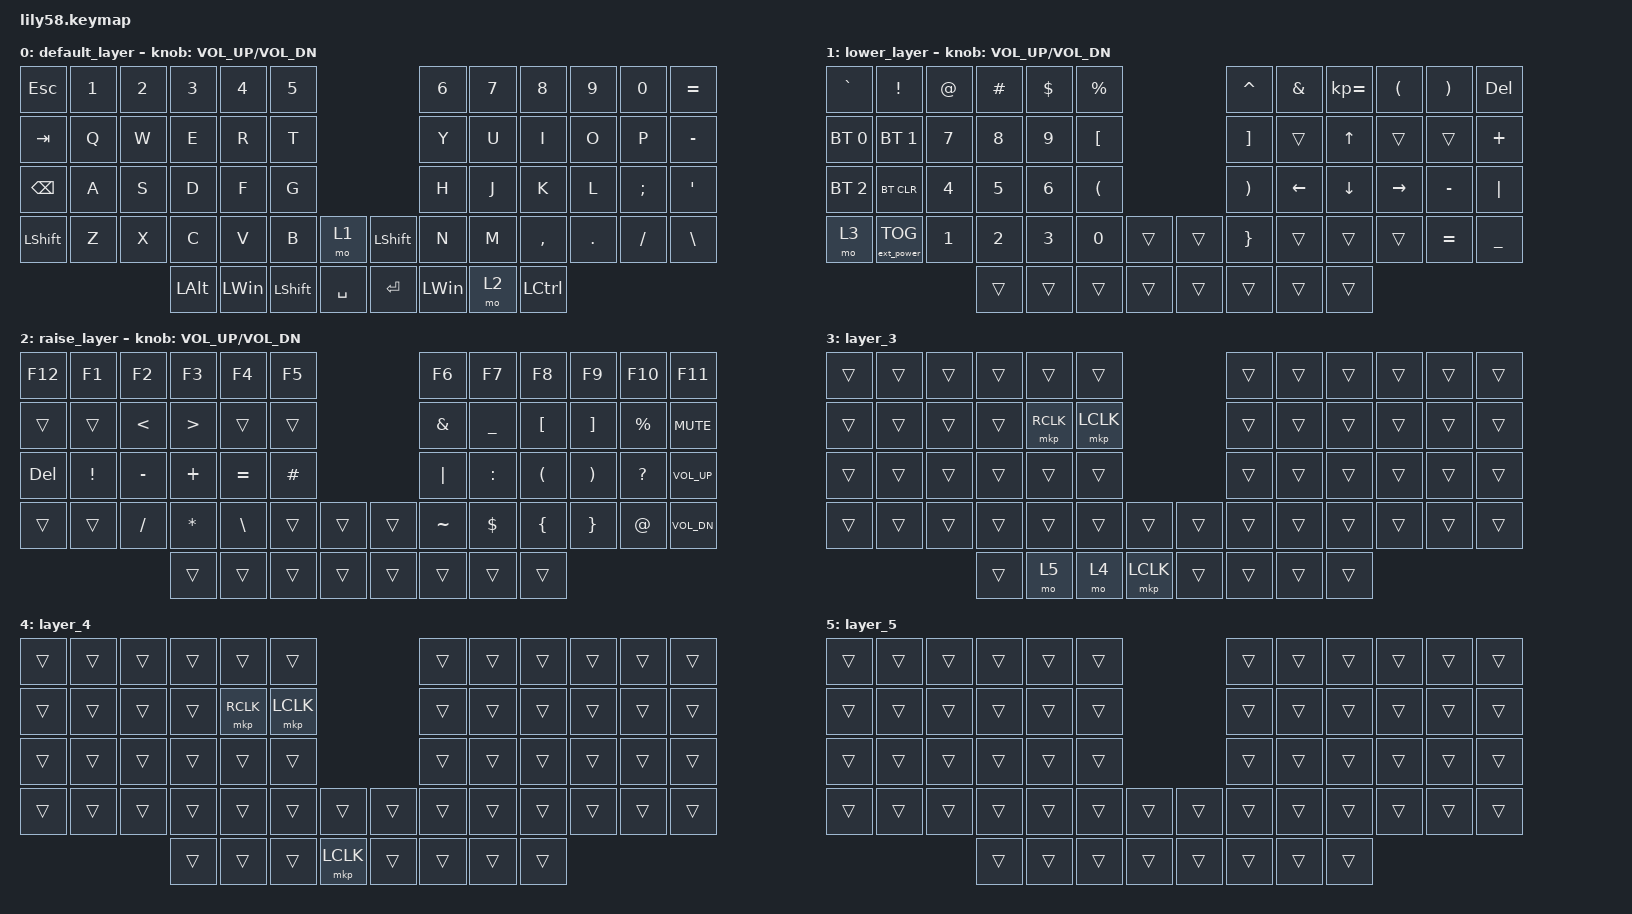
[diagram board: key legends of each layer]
/*
 * Copyright (c) 2020 The ZMK Contributors
 *
 * SPDX-License-Identifier: MIT
 */

#include <behaviors.dtsi>
#include <dt-bindings/zmk/bt.h>
#include <dt-bindings/zmk/ext_power.h>
#include <dt-bindings/zmk/keys.h>
#include <dt-bindings/zmk/pointing.h>

/ {
    keymap {
        compatible = "zmk,keymap";

        default_layer {
            // ------------------------------------------------------------------------------------------------------------
            // |  ESC  |  1  |  2  |  3   |  4   |  5   |                   |  6   |  7    |  8    |  9   |   0   |   `   |
            // |  TAB  |  Q  |  W  |  E   |  R   |  T   |                   |  Y   |  U    |  I    |  O   |   P   |   -   |
            // |  CTRL |  A  |  S  |  D   |  F   |  G   |                   |  H   |  J    |  K    |  L   |   ;   |   '   |
            // | SHIFT |  Z  |  X  |  C   |  V   |  B   |   "["  |  |  "]"  |  N   |  M    |  ,    |  .   |   /   | SHIFT |
            //                     | ALT  | GUI  | LOWER|  SPACE |  | ENTER | RAISE| BSPC  | GUI   |

            bindings = <
&kp ESC        &kp N1  &kp N2  &kp N3    &kp N4    &kp N5                                  &kp N6    &kp N7  &kp N8     &kp N9   &kp N0    &kp EQUAL
&kp TAB        &kp Q   &kp W   &kp E     &kp R     &kp T                                   &kp Y     &kp U   &kp I      &kp O    &kp P     &kp MINUS
&kp BACKSPACE  &kp A   &kp S   &kp D     &kp F     &kp G                                   &kp H     &kp J   &kp K      &kp L    &kp SEMI  &kp SINGLE_QUOTE
&kp LSHFT      &kp Z   &kp X   &kp C     &kp V     &kp B      &mo 1        &kp LEFT_SHIFT  &kp N     &kp M   &kp COMMA  &kp DOT  &kp FSLH  &kp BACKSLASH
                               &kp LALT  &kp LWIN  &kp LSHFT  &kp SPACE    &kp RET         &kp LWIN  &mo 2   &kp LCTRL
            >;

            sensor-bindings = <&inc_dec_kp C_VOL_UP C_VOL_DN>;
        };

        lower_layer {
            // ------------------------------------------------------------------------------------------------------------
            // | BTCLR | BT1 | BT2 |  BT3 |  BT4 |  BT5 |                   |      |       |       |      |       |       |
            // |  F1   |  F2 |  F3 |  F4  |  F5  |  F6  |                   |  F7  |  F8   |  F9   |  F10 |  F11  |  F12  |
            // |   `   |  !  |  @  |  #   |  $   |  %   |                   |  ^   |  &    |  *    |  (   |   )   |   ~   |
            // |       |     |     |      |      |      |        |  |       |      |  _    |  +    |  {   |   }   |  "|"  |
            //                     |      |      |      |        |  |       |      |       |       |

            bindings = <
&kp GRAVE     &kp EXCLAMATION    &kp AT_SIGN   &kp HASH      &kp DOLLAR    &kp PERCENT                             &kp CARET              &kp AMPERSAND  &kp KP_EQUAL  &kp LEFT_PARENTHESIS  &kp RIGHT_PARENTHESIS  &kp DEL
&bt BT_SEL 0  &bt BT_SEL 1       &kp N7        &kp N8        &kp N9        &kp LEFT_BRACKET                        &kp RIGHT_BRACKET      &trans         &kp UP_ARROW  &trans                &trans                 &kp PLUS
&bt BT_SEL 2  &bt BT_CLR         &kp NUMBER_4  &kp N5        &kp NUMBER_6  &kp LEFT_PARENTHESIS                    &kp RIGHT_PARENTHESIS  &kp LEFT       &kp DOWN      &kp RIGHT             &kp MINUS              &kp PIPE
&mo 3         &ext_power EP_TOG  &kp NUMBER_1  &kp NUMBER_2  &kp NUMBER_3  &kp N0                &trans    &trans  &kp RIGHT_BRACE        &trans         &trans        &trans                &kp EQUAL              &kp UNDER
                                               &trans        &trans        &trans                &trans    &trans  &trans                 &trans         &trans
            >;

            sensor-bindings = <&inc_dec_kp C_VOL_UP C_VOL_DN>;
        };

        raise_layer {
            // ------------------------------------------------------------------------------------------------------------
            // |       |     |     |      |      |      |                   |      |       |       |      |       |       |
            // |   `   |  1  |  2  |  3   |  4   |  5   |                   |  6   |   7   |   8   |  9   |   0   |       |
            // |   F1  |  F2 |  F3 |  F4  |  F5  |  F6  |                   |      |   <-  |   v   |  ^   |  ->   |       |
            // |   F7  |  F8 |  F9 |  F10 |  F11 |  F12 |        |  |       |  +   |   -   |   =   |  [   |   ]   |   \   |
            //                     |      |      |      |        |  |       |      |       |       |

            bindings = <
&kp F12     &kp F1    &kp F2         &kp F3            &kp F4         &kp F5                      &kp F6         &kp F7          &kp F8                &kp F9                 &kp F10       &kp F11
&trans      &trans    &kp LESS_THAN  &kp GREATER_THAN  &trans         &trans                      &kp AMPERSAND  &kp UNDERSCORE  &kp LEFT_BRACKET      &kp RIGHT_BRACKET      &kp PERCENT   &kp K_MUTE
&kp DELETE  &kp EXCL  &kp MINUS      &kp PLUS          &kp EQUAL      &kp HASH                    &kp PIPE       &kp COLON       &kp LEFT_PARENTHESIS  &kp RIGHT_PARENTHESIS  &kp QUESTION  &kp C_VOLUME_UP
&trans      &trans    &kp SLASH      &kp ASTERISK      &kp BACKSLASH  &trans    &trans    &trans  &kp TILDE      &kp DOLLAR      &kp LEFT_BRACE        &kp RIGHT_BRACE        &kp AT_SIGN   &kp C_VOL_DN
                                     &trans            &trans         &trans    &trans    &trans  &trans         &trans          &trans
            >;

            sensor-bindings = <&inc_dec_kp C_VOL_UP C_VOL_DN>;
        };

        layer_3 {
            bindings = <
&trans  &trans  &trans  &trans  &trans     &trans                       &trans  &trans  &trans  &trans  &trans  &trans
&trans  &trans  &trans  &trans  &mkp RCLK  &mkp LCLK                    &trans  &trans  &trans  &trans  &trans  &trans
&trans  &trans  &trans  &trans  &trans     &trans                       &trans  &trans  &trans  &trans  &trans  &trans
&trans  &trans  &trans  &trans  &trans     &trans     &trans       &trans  &trans  &trans  &trans  &trans  &trans  &trans
                        &trans   &mo 5      &mo 4     &mkp LCLK    &trans  &trans  &trans  &trans
            >;
        };

        layer_4 {
            bindings = <
&trans  &trans  &trans  &trans  &trans     &trans                       &trans  &trans  &trans  &trans  &trans  &trans
&trans  &trans  &trans  &trans  &mkp RCLK  &mkp LCLK                    &trans  &trans  &trans  &trans  &trans  &trans
&trans  &trans  &trans  &trans  &trans     &trans                       &trans  &trans  &trans  &trans  &trans  &trans
&trans  &trans  &trans  &trans  &trans     &trans     &trans       &trans  &trans  &trans  &trans  &trans  &trans  &trans
                        &trans   &trans     &trans    &mkp LCLK    &trans  &trans  &trans  &trans
            >;
        };

        layer_5 {
            bindings = <
&trans  &trans  &trans  &trans  &trans  &trans                    &trans  &trans  &trans  &trans  &trans  &trans
&trans  &trans  &trans  &trans  &trans  &trans                    &trans  &trans  &trans  &trans  &trans  &trans
&trans  &trans  &trans  &trans  &trans  &trans                    &trans  &trans  &trans  &trans  &trans  &trans
&trans  &trans  &trans  &trans  &trans  &trans  &trans    &trans  &trans  &trans  &trans  &trans  &trans  &trans
                        &trans  &trans  &trans  &trans    &trans  &trans  &trans  &trans
            >;
        };
    };
};
